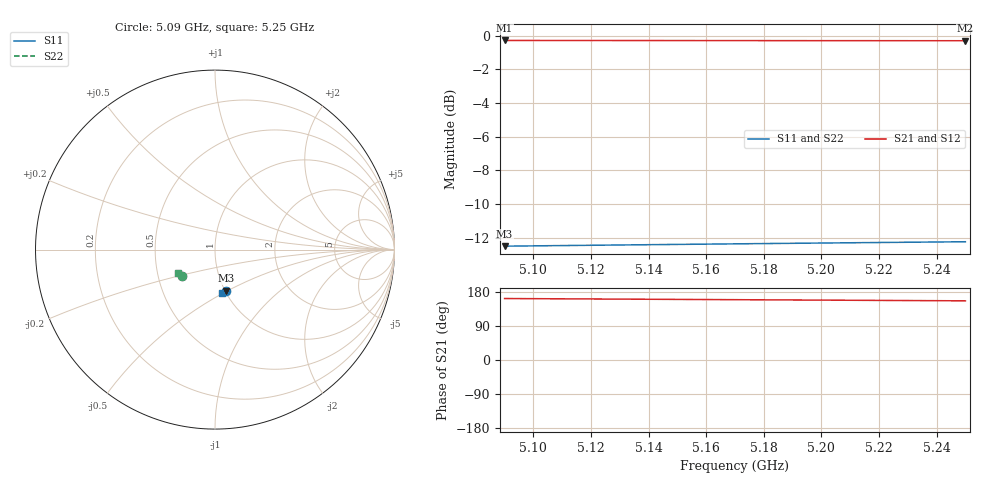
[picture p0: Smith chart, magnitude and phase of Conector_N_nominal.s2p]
! Touchstone file exported from HFSS 2024.2.0
!  File:  D:/dev/EMBRAER/P1H/R05_Correcao/cupons/Conector_N/Conector_N.aedt
!  Generated:  10:20:29 AM Nov  7, 2026
!  Design:  Conector_N
!  Project:  Conector_N
!  Setup:  Cupom
!  Solution:  Banda
# GHz S RI R 50.000000
! Terminal data exported
! Port[1] = Entrada
! Port[2] = Saida
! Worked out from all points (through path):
!   17 points, 5.09 GHz to 5.25 GHz, reference 50 ohm
!   highest |S21| = -0.28 dB at 5.09 GHz (marker M1); lowest = -0.3 dB at 5.25 GHz (marker M2)
!   group delay of S21, straight-line fit = 106 ps
!   lowest |S11| = -12.5 dB at 5.09 GHz (marker M3), VSWR 1.62, Z = 50.6 - j24.5 ohm
!   |S11| at or under -10 dB: start of sweep to end of sweep
!   |S22| runs from -12.5 to -12.2 dB; largest |S21 - S12| = 1e-15
5.09  0.0616 -0.2288  -0.922 0.2961  -0.922 0.2961  -0.1838 -0.1497
! Gamma 0 0 0 0
! Port Impedance 50 0 50 0
5.1  0.0602 -0.2297  -0.9199 0.3022  -0.9199 0.3022  -0.1851 -0.1488
5.11  0.0588 -0.2305  -0.9178 0.3082  -0.9178 0.3082  -0.1865 -0.1479
5.12  0.0574 -0.2314  -0.9156 0.3143  -0.9156 0.3143  -0.1879 -0.1469
5.13  0.056 -0.2322  -0.9134 0.3203  -0.9134 0.3203  -0.1892 -0.1459
5.14  0.0546 -0.2331  -0.9111 0.3263  -0.9111 0.3263  -0.1905 -0.1449
5.15  0.0532 -0.2339  -0.9088 0.3323  -0.9088 0.3323  -0.1919 -0.1439
5.16  0.0517 -0.2347  -0.9065 0.3383  -0.9065 0.3383  -0.1932 -0.1429
5.17  0.0503 -0.2354  -0.9041 0.3443  -0.9041 0.3443  -0.1945 -0.1419
5.18  0.0489 -0.2362  -0.9017 0.3502  -0.9017 0.3502  -0.1958 -0.1408
5.19  0.0474 -0.237  -0.8993 0.3561  -0.8993 0.3561  -0.1971 -0.1398
5.2  0.0459 -0.2377  -0.8968 0.362  -0.8968 0.362  -0.1984 -0.1387
5.21  0.0445 -0.2384  -0.8943 0.3679  -0.8943 0.3679  -0.1997 -0.1376
5.22  0.043 -0.2391  -0.8917 0.3738  -0.8917 0.3738  -0.201 -0.1365
5.23  0.0415 -0.2398  -0.8891 0.3797  -0.8891 0.3797  -0.2022 -0.1354
5.24  0.04 -0.2405  -0.8865 0.3855  -0.8865 0.3855  -0.2035 -0.1343
5.25  0.0385 -0.2412  -0.8838 0.3913  -0.8838 0.3913  -0.2047 -0.1331
